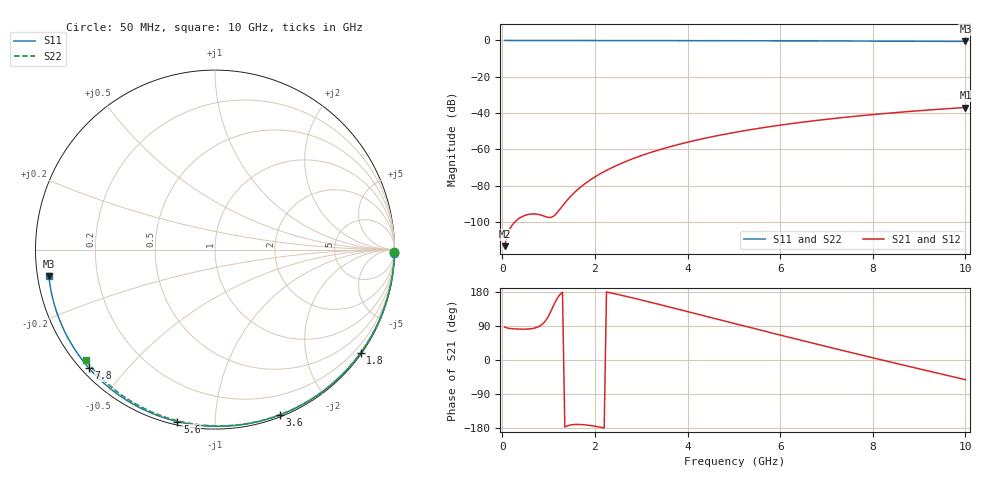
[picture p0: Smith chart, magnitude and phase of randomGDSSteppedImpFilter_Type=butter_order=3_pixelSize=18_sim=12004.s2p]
! freq	dB(S11)	phase(S11)	dB(S12)	phase(S12)
!  dB(S21)	phase(S21)	dB(S22)	phase(S22)
!S-par simulation data
#  GHz  S  DB  R 50
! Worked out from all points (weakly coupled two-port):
!   200 points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, 50 MHz to 10 GHz, reference 50 ohm
!   highest |S21| = -36.96 dB at 10 GHz (marker M1); lowest = -113.4 dB at 50 MHz (marker M2)
!   lowest |S11| = -0.6 dB at 10 GHz (marker M3), VSWR 31.10, Z = 1.62 - j3.95 ohm
!   |S11| at or under -10 dB: nowhere
!   |S22| runs from -0.5 to 0.0 dB; largest |S21 - S12| = 0
!   S11 on the Smith chart (normalised r, x): 50 MHz: open; 1.8 GHz: 0.03, -3.14; 3.6 GHz: 0.02, -1.47; 5.6 GHz: 0.02, -0.80; 7.8 GHz: 0.02, -0.40; 10 GHz: 0.03, -0.08
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0.05  -0.00 -1.0  -113.41 86.8  -113.41 86.8  -0.00 -0.8
0.45  -0.01 -9.0  -96.85 81.3  -96.85 81.3  -0.01 -7.3
0.85  -0.02 -16.9  -96.39 93.1  -96.39 93.1  -0.02 -13.6
1.25  -0.03 -24.7  -92.83 173.4  -92.83 173.4  -0.03 -20.0
1.7  -0.04 -33.4  -80.63 -170.3  -80.63 -170.3  -0.03 -27.0
1.75  -0.04 -34.4  -79.62 -170.7  -79.62 -170.7  -0.04 -27.8
1.8  -0.05 -35.3  -78.66 -171.3  -78.66 -171.3  -0.04 -28.6
2.1  -0.05 -41.0  -73.71 -176.9  -73.71 -176.9  -0.04 -33.2
2.3  -0.06 -44.8  -70.96 178.2  -70.96 178.2  -0.05 -36.3
2.5  -0.06 -48.6  -68.55 172.9  -68.55 172.9  -0.05 -39.4
2.9  -0.07 -55.9  -64.41 161.4  -64.41 161.4  -0.06 -45.4
3.4  -0.09 -65.0  -60.20 146.3  -60.20 146.3  -0.07 -52.9
3.6  -0.09 -68.5  -58.73 140.1  -58.73 140.1  -0.08 -55.8
4.3  -0.11 -80.7  -54.33 118.4  -54.33 118.4  -0.09 -65.9
5.05  -0.14 -93.4  -50.54 95.1  -50.54 95.1  -0.12 -76.4
5.6  -0.17 -102.3  -48.20 78.1  -48.20 78.1  -0.14 -83.9
6.15  -0.20 -111.1  -46.17 61.2  -46.17 61.2  -0.16 -91.3
6.7  -0.23 -119.8  -44.37 44.5  -44.37 44.5  -0.19 -98.4
7.8  -0.32 -136.7  -41.34 11.7  -41.34 11.7  -0.26 -112.4
8.35  -0.37 -145.2  -40.06 -4.4  -40.06 -4.4  -0.31 -119.2
9.2  -0.46 -158.3  -38.34 -29.0  -38.34 -29.0  -0.38 -129.6
10  -0.56 -171.0  -36.96 -51.9  -36.96 -51.9  -0.47 -139.4
